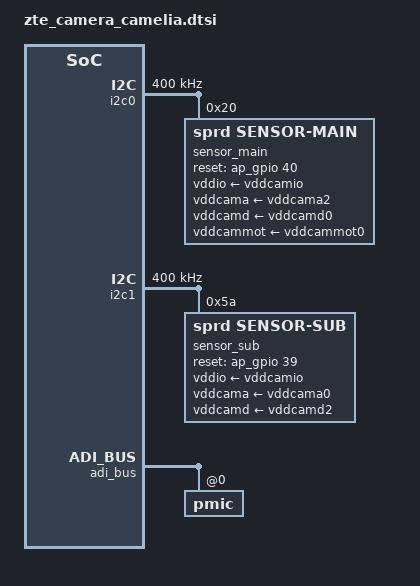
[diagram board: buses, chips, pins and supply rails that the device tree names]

&i2c0 {
	status = "okay";
	clock-frequency = <400000>;
	#address-cells = <1>;
	#size-cells = <0>;

	sensor_main: sensor-main@20 {
		compatible = "sprd,sensor-main";
		reg = <0x20>;
		clock-names = "clk_src","sensor_eb",
			"clk_96m","clk_64m",
			"clk_51m2","clk_48m","clk_26m";
		clocks = <&mm_clk CLK_SENSOR0>,<&mm_gate CLK_SENSOR0_EN>,
				<&g5l_pll CLK_TGPLL_96M>,<&g5l_pll CLK_TGPLL_64M>,
				<&g5l_pll CLK_TGPLL_51M2>,<&g5l_pll CLK_TGPLL_48M>,<&ext_26m>;
		vddio-supply = <&vddcamio>;
		vddcama-supply = <&vddcama2>;
		vddcamd-supply = <&vddcamd0>;
		vddcammot-supply = <&vddcammot0>;
		reset-gpios = <&ap_gpio 40 0>;
		sprd,phyid = <3>;
		csi = <&csi3>;
		power-domains = <&mm_domain>;
	};
};

&i2c1 {
	status = "okay";
	clock-frequency = <400000>;
	#address-cells = <1>;
	#size-cells = <0>;

	sensor_sub: sensor-sub@5a {
		compatible = "sprd,sensor-sub";
		reg = <0x5a>;
		clock-names = "clk_src","sensor_eb",
			"clk_96m","clk_64m",
			"clk_51m2","clk_48m","clk_26m";
		clocks = <&mm_clk CLK_SENSOR3>,<&mm_gate CLK_SENSOR3_EN>,
			<&g5l_pll CLK_TGPLL_96M>,<&g5l_pll CLK_TGPLL_64M>,
			<&g5l_pll CLK_TGPLL_51M2>,<&g5l_pll CLK_TGPLL_48M>,<&ext_26m>;
		vddio-supply = <&vddcamio>;
		vddcama-supply = <&vddcama0>;
		vddcamd-supply = <&vddcamd2>;
		reset-gpios = <&ap_gpio 39 0>;
		sprd,phyid = <2>;
		csi = <&csi2>;
		power-domains = <&mm_domain>;
	};
};

&i2c6 {
	/delete-node/ flash-ic@63;
};
&adi_bus {
	pmic@0 {
		/delete-node/ led-controller@180;
	};
};

&ump9620_pmic {
    led-controller@2388 {
        compatible = "sprd,ump9620-keypad-led-flash", "sprd,sc27xx-keypad-led";
        reg = <0x2388>, <0x238c>;
    };
};
